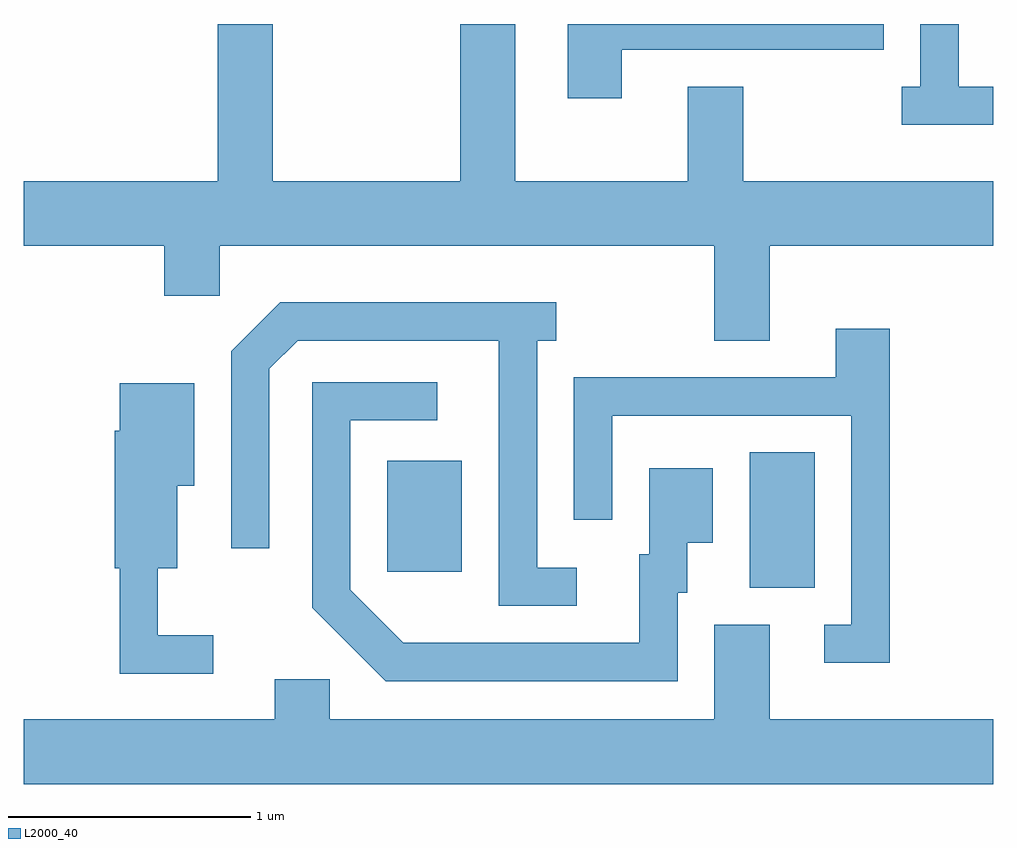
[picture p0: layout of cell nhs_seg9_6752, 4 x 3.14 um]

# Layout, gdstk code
import gdstk
lib = gdstk.Library(unit=1e-6, precision=1e-09)
def R(c, l, rs):  # rectangles x0, y0, x1, y1
    for r in rs: c.add(gdstk.rectangle(r[:2], r[2:], *l))
def P(c, l, *ps):  # polygons
    for p in ps: c.add(gdstk.Polygon(p, *l))
L2000_40 = (2000, 40)

nhs_seg9_6752 = lib.new_cell('nhs_seg9_6752')
R(nhs_seg9_6752, L2000_40, [(386.606,2068.106,386.874,2068.664), (385.111,2068.171,385.419,2068.629)])
P(nhs_seg9_6752, L2000_40, [(386.689,2069.516),(387.611,2069.516),(387.611,2069.784),(386.579,2069.784),(386.579,2070.174),(386.351,2070.174),(386.351,2069.784),(385.639,2069.784),(385.639,2070.432),(385.411,2070.432),(385.411,2069.784),(384.639,2069.784),(384.639,2070.432),(384.411,2070.432),(384.411,2069.784),(383.611,2069.784),(383.611,2069.516),(384.191,2069.516),(384.191,2069.311),(384.419,2069.311),(384.419,2069.516),(386.461,2069.516),(386.461,2069.126),(386.689,2069.126)],
  [(386.079,2070.326),(387.159,2070.326),(387.159,2070.432),(385.856,2070.432),(385.856,2070.126),(386.079,2070.126)],
  [(387.611,2070.174),(387.469,2070.174),(387.469,2070.432),(387.311,2070.432),(387.311,2070.174),(387.233,2070.174),(387.233,2070.016),(387.611,2070.016)],
  [(385.893,2068.189),(385.729,2068.189),(385.729,2069.126),(385.808,2069.126),(385.808,2069.284),(384.669,2069.284),(384.466,2069.082),(384.466,2068.268),(384.624,2068.268),(384.624,2069.009),(384.742,2069.126),(385.571,2069.126),(385.571,2068.031),(385.893,2068.031)],
  [(387.184,2069.174),(386.961,2069.174),(386.961,2068.974),(385.881,2068.974),(385.881,2068.387),(386.039,2068.387),(386.039,2068.816),(387.026,2068.816),(387.026,2067.954),(386.913,2067.954),(386.913,2067.796),(387.184,2067.796)],
  [(386.309,2068.086),(386.349,2068.086),(386.349,2068.291),(386.454,2068.291),(386.454,2068.599),(386.191,2068.599),(386.191,2068.244),(386.151,2068.244),(386.151,2067.879),(385.177,2067.879),(384.959,2068.097),(384.959,2068.796),(385.318,2068.796),(385.318,2068.954),(384.801,2068.954),(384.801,2068.024),(385.104,2067.721),(386.309,2067.721)],
  [(384.393,2067.909),(384.164,2067.909),(384.164,2068.186),(384.244,2068.186),(384.244,2068.526),(384.314,2068.526),(384.314,2068.949),(384.006,2068.949),(384.006,2068.754),(383.986,2068.754),(383.986,2068.186),(384.006,2068.186),(384.006,2067.751),(384.393,2067.751)],
  [(387.611,2067.564),(386.689,2067.564),(386.689,2067.954),(386.461,2067.954),(386.461,2067.564),(384.874,2067.564),(384.874,2067.729),(384.646,2067.729),(384.646,2067.564),(383.611,2067.564),(383.611,2067.296),(387.611,2067.296)])

lib.write_gds('nhs_seg9_6752.gds')
